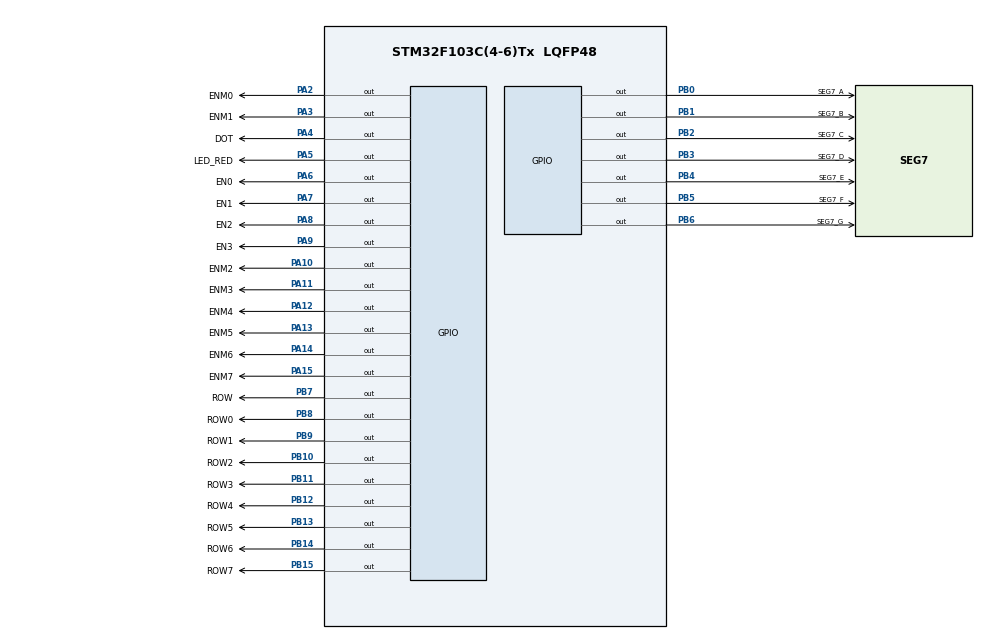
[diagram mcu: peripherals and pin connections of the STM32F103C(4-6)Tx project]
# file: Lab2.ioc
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Mcu.Family=STM32F1
Mcu.Name=STM32F103C(4-6)Tx
Mcu.Package=LQFP48
NVIC.PriorityGroup=NVIC_PRIORITYGROUP_4
NVIC.TIM2_IRQn=true\:0\:0\:false\:false\:true\:true\:true
PA10.GPIO_Label=ENM2
PA10.Signal=GPIO_Output
PA11.GPIO_Label=ENM3
PA11.Signal=GPIO_Output
PA12.GPIO_Label=ENM4
PA12.Signal=GPIO_Output
PA13.GPIO_Label=ENM5
PA13.Signal=GPIO_Output
PA14.GPIO_Label=ENM6
PA14.Signal=GPIO_Output
PA15.GPIO_Label=ENM7
PA15.Signal=GPIO_Output
PA2.GPIO_Label=ENM0
PA2.Signal=GPIO_Output
PA3.GPIO_Label=ENM1
PA3.Signal=GPIO_Output
PA4.GPIO_Label=DOT
PA4.Signal=GPIO_Output
PA5.GPIO_Label=LED_RED
PA5.Signal=GPIO_Output
PA6.GPIO_Label=EN0
PA6.Signal=GPIO_Output
PA7.GPIO_Label=EN1
PA7.Signal=GPIO_Output
PA8.GPIO_Label=EN2
PA8.Signal=GPIO_Output
PA9.GPIO_Label=EN3
PA9.Signal=GPIO_Output
PB0.GPIO_Label=SEG7_A
PB0.Signal=GPIO_Output
PB1.GPIO_Label=SEG7_B
PB1.Signal=GPIO_Output
PB10.GPIO_Label=ROW2
PB10.Signal=GPIO_Output
PB11.GPIO_Label=ROW3
PB11.Signal=GPIO_Output
PB12.GPIO_Label=ROW4
PB12.Signal=GPIO_Output
PB13.GPIO_Label=ROW5
PB13.Signal=GPIO_Output
PB14.GPIO_Label=ROW6
PB14.Signal=GPIO_Output
PB15.GPIO_Label=ROW7
PB15.Signal=GPIO_Output
PB2.GPIO_Label=SEG7_C
PB2.Signal=GPIO_Output
PB3.GPIO_Label=SEG7_D
PB3.Signal=GPIO_Output
PB4.GPIO_Label=SEG7_E
PB4.Signal=GPIO_Output
PB5.GPIO_Label=SEG7_F
PB5.Signal=GPIO_Output
PB6.GPIO_Label=SEG7_G
PB6.Signal=GPIO_Output
PB7.GPIO_Label=ROW
PB7.Signal=GPIO_Output
PB8.GPIO_Label=ROW0
PB8.Signal=GPIO_Output
PB9.GPIO_Label=ROW1
PB9.Signal=GPIO_Output
ProjectManager.HeapSize=0x200
ProjectManager.StackSize=0x400
ProjectManager.TargetToolchain=STM32CubeIDE
RCC.APB1Freq_Value=8000000
RCC.APB2Freq_Value=8000000
TIM2.Period=7
TIM2.Prescaler=799
VP_SYS_VS_ND.Mode=No_Debug
VP_TIM2_VS_ClockSourceINT.Mode=Internal
board=custom

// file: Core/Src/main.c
/* USER CODE BEGIN Header */
/**
  ******************************************************************************
  * @file           : main.c
  * @brief          : Main program body
  ******************************************************************************
  * @attention
  *
  * <h2><center>&copy; Copyright (c) 2023 STMicroelectronics.
  * All rights reserved.</center></h2>
  *
  * This software component is licensed by ST under BSD 3-Clause license,
  * the "License"; You may not use this file except in compliance with the
  * License. You may obtain a copy of the License at:
  *                        opensource.org/licenses/BSD-3-Clause
  *
  ******************************************************************************
  */
/* USER CODE END Header */
#include "main.h"

/* USER CODE BEGIN Includes */
#include "software_timer.h"
/* USER CODE END Includes */

TIM_HandleTypeDef htim2;

void SystemClock_Config(void);
static void MX_GPIO_Init(void);
static void MX_TIM2_Init(void);

/* USER CODE BEGIN 0 */
void display7SEG(int num){
	switch(num){
	case 0:
		HAL_GPIO_WritePin(SEG7_A_GPIO_Port, SEG7_A_Pin, RESET);
		HAL_GPIO_WritePin(SEG7_B_GPIO_Port, SEG7_B_Pin, RESET);
		HAL_GPIO_WritePin(SEG7_C_GPIO_Port, SEG7_C_Pin, RESET);
		HAL_GPIO_WritePin(SEG7_D_GPIO_Port, SEG7_D_Pin, RESET);
		HAL_GPIO_WritePin(SEG7_E_GPIO_Port, SEG7_E_Pin, RESET);
		HAL_GPIO_WritePin(SEG7_F_GPIO_Port, SEG7_F_Pin, RESET);
		HAL_GPIO_WritePin(SEG7_G_GPIO_Port, SEG7_G_Pin, SET);
		break;
	case 1:
		HAL_GPIO_WritePin(SEG7_A_GPIO_Port, SEG7_A_Pin, SET);
		HAL_GPIO_WritePin(SEG7_B_GPIO_Port, SEG7_B_Pin, RESET);
		HAL_GPIO_WritePin(SEG7_C_GPIO_Port, SEG7_C_Pin, RESET);
		HAL_GPIO_WritePin(SEG7_D_GPIO_Port, SEG7_D_Pin, SET);
		HAL_GPIO_WritePin(SEG7_E_GPIO_Port, SEG7_E_Pin, SET);
		HAL_GPIO_WritePin(SEG7_F_GPIO_Port, SEG7_F_Pin, SET);
		HAL_GPIO_WritePin(SEG7_G_GPIO_Port, SEG7_G_Pin, SET);
		break;
	case 2:
		HAL_GPIO_WritePin(SEG7_A_GPIO_Port, SEG7_A_Pin, RESET);
		HAL_GPIO_WritePin(SEG7_B_GPIO_Port, SEG7_B_Pin, RESET);
		HAL_GPIO_WritePin(SEG7_C_GPIO_Port, SEG7_C_Pin, SET);
		HAL_GPIO_WritePin(SEG7_D_GPIO_Port, SEG7_D_Pin, RESET);
		HAL_GPIO_WritePin(SEG7_E_GPIO_Port, SEG7_E_Pin, RESET);
		HAL_GPIO_WritePin(SEG7_F_GPIO_Port, SEG7_F_Pin, SET);
		HAL_GPIO_WritePin(SEG7_G_GPIO_Port, SEG7_G_Pin, RESET);
		break;
	case 3:
		HAL_GPIO_WritePin(SEG7_A_GPIO_Port, SEG7_A_Pin, RESET);
		HAL_GPIO_WritePin(SEG7_B_GPIO_Port, SEG7_B_Pin, RESET);
		HAL_GPIO_WritePin(SEG7_C_GPIO_Port, SEG7_C_Pin, RESET);
		HAL_GPIO_WritePin(SEG7_D_GPIO_Port, SEG7_D_Pin, RESET);
		HAL_GPIO_WritePin(SEG7_E_GPIO_Port, SEG7_E_Pin, SET);
		HAL_GPIO_WritePin(SEG7_F_GPIO_Port, SEG7_F_Pin, SET);
		HAL_GPIO_WritePin(SEG7_G_GPIO_Port, SEG7_G_Pin, RESET);
		break;
	case 4:
		HAL_GPIO_WritePin(SEG7_A_GPIO_Port, SEG7_A_Pin, SET);
		HAL_GPIO_WritePin(SEG7_B_GPIO_Port, SEG7_B_Pin, RESET);
		HAL_GPIO_WritePin(SEG7_C_GPIO_Port, SEG7_C_Pin, RESET);
		HAL_GPIO_WritePin(SEG7_D_GPIO_Port, SEG7_D_Pin, SET);
		HAL_GPIO_WritePin(SEG7_E_GPIO_Port, SEG7_E_Pin, SET);
		HAL_GPIO_WritePin(SEG7_F_GPIO_Port, SEG7_F_Pin, RESET);
		HAL_GPIO_WritePin(SEG7_G_GPIO_Port, SEG7_G_Pin, RESET);
		break;
	case 5:
		HAL_GPIO_WritePin(SEG7_A_GPIO_Port, SEG7_A_Pin, RESET);
		HAL_GPIO_WritePin(SEG7_B_GPIO_Port, SEG7_B_Pin, SET);
		HAL_GPIO_WritePin(SEG7_C_GPIO_Port, SEG7_C_Pin, RESET);
		HAL_GPIO_WritePin(SEG7_D_GPIO_Port, SEG7_D_Pin, RESET);
		HAL_GPIO_WritePin(SEG7_E_GPIO_Port, SEG7_E_Pin, SET);
		HAL_GPIO_WritePin(SEG7_F_GPIO_Port, SEG7_F_Pin, RESET);
		HAL_GPIO_WritePin(SEG7_G_GPIO_Port, SEG7_G_Pin, RESET);
		break;
	case 6:
		HAL_GPIO_WritePin(SEG7_A_GPIO_Port, SEG7_A_Pin, RESET);
		HAL_GPIO_WritePin(SEG7_B_GPIO_Port, SEG7_B_Pin, SET);
		HAL_GPIO_WritePin(SEG7_C_GPIO_Port, SEG7_C_Pin, RESET);
		HAL_GPIO_WritePin(SEG7_D_GPIO_Port, SEG7_D_Pin, RESET);
		HAL_GPIO_WritePin(SEG7_E_GPIO_Port, SEG7_E_Pin, RESET);
		HAL_GPIO_WritePin(SEG7_F_GPIO_Port, SEG7_F_Pin, RESET);
		HAL_GPIO_WritePin(SEG7_G_GPIO_Port, SEG7_G_Pin, RESET);
		break;
	case 7:
		HAL_GPIO_WritePin(SEG7_A_GPIO_Port, SEG7_A_Pin, RESET);
		HAL_GPIO_WritePin(SEG7_B_GPIO_Port, SEG7_B_Pin, RESET);
		HAL_GPIO_WritePin(SEG7_C_GPIO_Port, SEG7_C_Pin, RESET);
		HAL_GPIO_WritePin(SEG7_D_GPIO_Port, SEG7_D_Pin, SET);
		HAL_GPIO_WritePin(SEG7_E_GPIO_Port, SEG7_E_Pin, SET);
		HAL_GPIO_WritePin(SEG7_F_GPIO_Port, SEG7_F_Pin, SET);
		HAL_GPIO_WritePin(SEG7_G_GPIO_Port, SEG7_G_Pin, SET);
		break;
	case 8:
		HAL_GPIO_WritePin(SEG7_A_GPIO_Port, SEG7_A_Pin, RESET);
		HAL_GPIO_WritePin(SEG7_B_GPIO_Port, SEG7_B_Pin, RESET);
		HAL_GPIO_WritePin(SEG7_C_GPIO_Port, SEG7_C_Pin, RESET);
		HAL_GPIO_WritePin(SEG7_D_GPIO_Port, SEG7_D_Pin, RESET);
		HAL_GPIO_WritePin(SEG7_E_GPIO_Port, SEG7_E_Pin, RESET);
		HAL_GPIO_WritePin(SEG7_F_GPIO_Port, SEG7_F_Pin, RESET);
		HAL_GPIO_WritePin(SEG7_G_GPIO_Port, SEG7_G_Pin, RESET);
		break;
	case 9:
		HAL_GPIO_WritePin(SEG7_A_GPIO_Port, SEG7_A_Pin, RESET);
		HAL_GPIO_WritePin(SEG7_B_GPIO_Port, SEG7_B_Pin, RESET);
		HAL_GPIO_WritePin(SEG7_C_GPIO_Port, SEG7_C_Pin, RESET);
		HAL_GPIO_WritePin(SEG7_D_GPIO_Port, SEG7_D_Pin, RESET);
		HAL_GPIO_WritePin(SEG7_E_GPIO_Port, SEG7_E_Pin, SET);
		HAL_GPIO_WritePin(SEG7_F_GPIO_Port, SEG7_F_Pin, RESET);
		HAL_GPIO_WritePin(SEG7_G_GPIO_Port, SEG7_G_Pin, RESET);
		break;
	default:
		HAL_GPIO_WritePin(SEG7_A_GPIO_Port, SEG7_A_Pin, SET);
		HAL_GPIO_WritePin(SEG7_B_GPIO_Port, SEG7_B_Pin, SET);
		HAL_GPIO_WritePin(SEG7_C_GPIO_Port, SEG7_C_Pin, SET);
		HAL_GPIO_WritePin(SEG7_D_GPIO_Port, SEG7_D_Pin, SET);
		HAL_GPIO_WritePin(SEG7_E_GPIO_Port, SEG7_E_Pin, SET);
		HAL_GPIO_WritePin(SEG7_F_GPIO_Port, SEG7_F_Pin, SET);
		HAL_GPIO_WritePin(SEG7_G_GPIO_Port, SEG7_G_Pin, SET);
		break;
	}
}

const int MAX_LED = 4;
int index_led = 0;
int led_buffer[4] = {0,0,0,0};
void update7SEG(int index) {
	switch(index) {
	  case 0:
		  HAL_GPIO_WritePin(EN0_GPIO_Port, EN0_Pin, RESET);
		  HAL_GPIO_WritePin(EN1_GPIO_Port, EN1_Pin, SET);
		  HAL_GPIO_WritePin(EN2_GPIO_Port, EN2_Pin, SET);
		  HAL_GPIO_WritePin(EN3_GPIO_Port, EN3_Pin, SET);
		  break;
	  case 1:
		  HAL_GPIO_WritePin(EN0_GPIO_Port, EN0_Pin, SET);
		  HAL_GPIO_WritePin(EN1_GPIO_Port, EN1_Pin, RESET);
		  HAL_GPIO_WritePin(EN2_GPIO_Port, EN2_Pin, SET);
		  HAL_GPIO_WritePin(EN3_GPIO_Port, EN3_Pin, SET);
		  break;
	  case 2:
		  HAL_GPIO_WritePin(EN0_GPIO_Port, EN0_Pin, SET);
		  HAL_GPIO_WritePin(EN1_GPIO_Port, EN1_Pin, SET);
		  HAL_GPIO_WritePin(EN2_GPIO_Port, EN2_Pin, RESET);
		  HAL_GPIO_WritePin(EN3_GPIO_Port, EN3_Pin, SET);
		  break;
	  case 3:
		  HAL_GPIO_WritePin(EN0_GPIO_Port, EN0_Pin, SET);
		  HAL_GPIO_WritePin(EN1_GPIO_Port, EN1_Pin, SET);
		  HAL_GPIO_WritePin(EN2_GPIO_Port, EN2_Pin, SET);
		  HAL_GPIO_WritePin(EN3_GPIO_Port, EN3_Pin, RESET);
		  break;
	  default:
		  break;
	}
	display7SEG(led_buffer[index]);
}

int hour = 15 , minute = 8 , second = 50;
void updateClockBuffer(){
	led_buffer[0] = hour/10;
	led_buffer[1] = hour%10;
	led_buffer[2] = minute/10;
	led_buffer[3] = minute%10;
}

void displayRowLEDMatrix(uint8_t num){
	HAL_GPIO_WritePin(ROW0_GPIO_Port, ROW0_Pin, (num&0x01));
	num = num >> 1;
	HAL_GPIO_WritePin(ROW1_GPIO_Port, ROW1_Pin, (num&0x01));
	num = num >> 1;
	HAL_GPIO_WritePin(ROW2_GPIO_Port, ROW2_Pin, (num&0x01));
	num = num >> 1;
	HAL_GPIO_WritePin(ROW3_GPIO_Port, ROW3_Pin, (num&0x01));
	num = num >> 1;
	HAL_GPIO_WritePin(ROW4_GPIO_Port, ROW4_Pin, (num&0x01));
	num = num >> 1;
	HAL_GPIO_WritePin(ROW5_GPIO_Port, ROW5_Pin, (num&0x01));
	num = num >> 1;
	HAL_GPIO_WritePin(ROW6_GPIO_Port, ROW6_Pin, (num&0x01));
	num = num >> 1;
	HAL_GPIO_WritePin(ROW7_GPIO_Port, ROW7_Pin, (num&0x01));
}

void displayColLEDMatrix(int num){
	switch(num){
	case 0:
		HAL_GPIO_WritePin(ENM0_GPIO_Port, ENM0_Pin, RESET);
		HAL_GPIO_WritePin(ENM1_GPIO_Port, ENM1_Pin, SET);
		HAL_GPIO_WritePin(ENM2_GPIO_Port, ENM2_Pin, SET);
		HAL_GPIO_WritePin(ENM3_GPIO_Port, ENM3_Pin, SET);
		HAL_GPIO_WritePin(ENM4_GPIO_Port, ENM4_Pin, SET);
		HAL_GPIO_WritePin(ENM5_GPIO_Port, ENM5_Pin, SET);
		HAL_GPIO_WritePin(ENM6_GPIO_Port, ENM6_Pin, SET);
		HAL_GPIO_WritePin(ENM7_GPIO_Port, ENM7_Pin, SET);
		break;
	case 1:
		HAL_GPIO_WritePin(ENM0_GPIO_Port, ENM0_Pin, SET);
		HAL_GPIO_WritePin(ENM1_GPIO_Port, ENM1_Pin, RESET);
		HAL_GPIO_WritePin(ENM2_GPIO_Port, ENM2_Pin, SET);
		HAL_GPIO_WritePin(ENM3_GPIO_Port, ENM3_Pin, SET);
		HAL_GPIO_WritePin(ENM4_GPIO_Port, ENM4_Pin, SET);
		HAL_GPIO_WritePin(ENM5_GPIO_Port, ENM5_Pin, SET);
		HAL_GPIO_WritePin(ENM6_GPIO_Port, ENM6_Pin, SET);
		HAL_GPIO_WritePin(ENM7_GPIO_Port, ENM7_Pin, SET);
		break;
	case 2:
		HAL_GPIO_WritePin(ENM0_GPIO_Port, ENM0_Pin, SET);
		HAL_GPIO_WritePin(ENM1_GPIO_Port, ENM1_Pin, SET);
		HAL_GPIO_WritePin(ENM2_GPIO_Port, ENM2_Pin, RESET);
		HAL_GPIO_WritePin(ENM3_GPIO_Port, ENM3_Pin, SET);
		HAL_GPIO_WritePin(ENM4_GPIO_Port, ENM4_Pin, SET);
		HAL_GPIO_WritePin(ENM5_GPIO_Port, ENM5_Pin, SET);
		HAL_GPIO_WritePin(ENM6_GPIO_Port, ENM6_Pin, SET);
		HAL_GPIO_WritePin(ENM7_GPIO_Port, ENM7_Pin, SET);
		break;
	case 3:
		HAL_GPIO_WritePin(ENM0_GPIO_Port, ENM0_Pin, SET);
		HAL_GPIO_WritePin(ENM1_GPIO_Port, ENM1_Pin, SET);
		HAL_GPIO_WritePin(ENM2_GPIO_Port, ENM2_Pin, SET);
		HAL_GPIO_WritePin(ENM3_GPIO_Port, ENM3_Pin, RESET);
		HAL_GPIO_WritePin(ENM4_GPIO_Port, ENM4_Pin, SET);
		HAL_GPIO_WritePin(ENM5_GPIO_Port, ENM5_Pin, SET);
		HAL_GPIO_WritePin(ENM6_GPIO_Port, ENM6_Pin, SET);
		HAL_GPIO_WritePin(ENM7_GPIO_Port, ENM7_Pin, SET);
		break;
	case 4:
		HAL_GPIO_WritePin(ENM0_GPIO_Port, ENM0_Pin, SET);
		HAL_GPIO_WritePin(ENM1_GPIO_Port, ENM1_Pin, SET);
		HAL_GPIO_WritePin(ENM2_GPIO_Port, ENM2_Pin, SET);
		HAL_GPIO_WritePin(ENM3_GPIO_Port, ENM3_Pin, SET);
		HAL_GPIO_WritePin(ENM4_GPIO_Port, ENM4_Pin, RESET);
		HAL_GPIO_WritePin(ENM5_GPIO_Port, ENM5_Pin, SET);
		HAL_GPIO_WritePin(ENM6_GPIO_Port, ENM6_Pin, SET);
		HAL_GPIO_WritePin(ENM7_GPIO_Port, ENM7_Pin, SET);
		break;
	case 5:
		HAL_GPIO_WritePin(ENM0_GPIO_Port, ENM0_Pin, SET);
		HAL_GPIO_WritePin(ENM1_GPIO_Port, ENM1_Pin, SET);
		HAL_GPIO_WritePin(ENM2_GPIO_Port, ENM2_Pin, SET);
		HAL_GPIO_WritePin(ENM3_GPIO_Port, ENM3_Pin, SET);
		HAL_GPIO_WritePin(ENM4_GPIO_Port, ENM4_Pin, SET);
		HAL_GPIO_WritePin(ENM5_GPIO_Port, ENM5_Pin, RESET);
		HAL_GPIO_WritePin(ENM6_GPIO_Port, ENM6_Pin, SET);
		HAL_GPIO_WritePin(ENM7_GPIO_Port, ENM7_Pin, SET);
		break;
	case 6:
		HAL_GPIO_WritePin(ENM0_GPIO_Port, ENM0_Pin, SET);
		HAL_GPIO_WritePin(ENM1_GPIO_Port, ENM1_Pin, SET);
		HAL_GPIO_WritePin(ENM2_GPIO_Port, ENM2_Pin, SET);
		HAL_GPIO_WritePin(ENM3_GPIO_Port, ENM3_Pin, SET);
		HAL_GPIO_WritePin(ENM4_GPIO_Port, ENM4_Pin, SET);
		HAL_GPIO_WritePin(ENM5_GPIO_Port, ENM5_Pin, SET);
		HAL_GPIO_WritePin(ENM6_GPIO_Port, ENM6_Pin, RESET);
		HAL_GPIO_WritePin(ENM7_GPIO_Port, ENM7_Pin, SET);
		break;
	case 7:
		HAL_GPIO_WritePin(ENM0_GPIO_Port, ENM0_Pin, SET);
		HAL_GPIO_WritePin(ENM1_GPIO_Port, ENM1_Pin, SET);
		HAL_GPIO_WritePin(ENM2_GPIO_Port, ENM2_Pin, SET);
		HAL_GPIO_WritePin(ENM3_GPIO_Port, ENM3_Pin, SET);
		HAL_GPIO_WritePin(ENM4_GPIO_Port, ENM4_Pin, SET);
		HAL_GPIO_WritePin(ENM5_GPIO_Port, ENM5_Pin, SET);
		HAL_GPIO_WritePin(ENM6_GPIO_Port, ENM6_Pin, SET);
		HAL_GPIO_WritePin(ENM7_GPIO_Port, ENM7_Pin, RESET);
		break;

	}

}

/*
	 1 1 1 - - 1 1 1
	 1 1 - - - - 1 1
	 1 - - 1 1 - - 1
	 1 - - 1 1 - - 1
	 1 - - - - - - 1
	 1 - - - - - - 1
	 1 - - 1 1 - - 1
	 1 - - 1 1 - - 1
*/

const int MAX_LED_MATRIX = 8;
int index_led_matrix = 0;
uint8_t matrix_buffer[8] = {0x1C,0x22,0x42,0x84,0x84,0x42,0x22,0x1C};
uint8_t matrix_1[8] = {0x1C,0x22,0x42,0x84,0x84,0x42,0x22,0x1C};
uint8_t matrix_2[8] = {0x1C,0x3E,0x66,0xC4,0xC4,0x66,0x3E,0x1C};
void resetLEDMatrix(){
	HAL_GPIO_WritePin(ENM0_GPIO_Port, ENM0_Pin, SET);
	HAL_GPIO_WritePin(ENM1_GPIO_Port, ENM1_Pin, SET);
	HAL_GPIO_WritePin(ENM2_GPIO_Port, ENM2_Pin, SET);
	HAL_GPIO_WritePin(ENM3_GPIO_Port, ENM3_Pin, SET);
	HAL_GPIO_WritePin(ENM4_GPIO_Port, ENM4_Pin, SET);
	HAL_GPIO_WritePin(ENM5_GPIO_Port, ENM5_Pin, SET);
	HAL_GPIO_WritePin(ENM6_GPIO_Port, ENM6_Pin, SET);
	HAL_GPIO_WritePin(ENM7_GPIO_Port, ENM7_Pin, SET);

	HAL_GPIO_WritePin(ROW0_GPIO_Port, ROW0_Pin, SET);
	HAL_GPIO_WritePin(ROW1_GPIO_Port, ROW1_Pin, SET);
	HAL_GPIO_WritePin(ROW2_GPIO_Port, ROW2_Pin, SET);
	HAL_GPIO_WritePin(ROW3_GPIO_Port, ROW3_Pin, SET);
	HAL_GPIO_WritePin(ROW4_GPIO_Port, ROW4_Pin, SET);
	HAL_GPIO_WritePin(ROW5_GPIO_Port, ROW5_Pin, SET);
	HAL_GPIO_WritePin(ROW6_GPIO_Port, ROW6_Pin, SET);
	HAL_GPIO_WritePin(ROW7_GPIO_Port, ROW7_Pin, SET);
}
int state = 0;
void shiftLeft(){
	if (state == 0){
		matrix_buffer[0] = matrix_2[0];
			matrix_buffer[1] = matrix_2[1];
			matrix_buffer[2] = matrix_2[2];
			matrix_buffer[3] = matrix_2[3];
			matrix_buffer[4] = matrix_2[4];
			matrix_buffer[5] = matrix_2[5];
			matrix_buffer[6] = matrix_2[6];
			matrix_buffer[7] = matrix_2[7];
			state++;
	}
	if (state == 1){
		matrix_buffer[0] = matrix_1[0];
			matrix_buffer[1] = matrix_1[1];
			matrix_buffer[2] = matrix_1[2];
			matrix_buffer[3] = matrix_1[3];
			matrix_buffer[4] = matrix_1[4];
			matrix_buffer[5] = matrix_1[5];
			matrix_buffer[6] = matrix_1[6];
			matrix_buffer[7] = matrix_1[7];
			state--;
	}

}

void updateLEDMatrix(){

//    displayRowLEDMatrix(matrix_buffer[index]);
//    displayColLEDMatrix(index);

	resetLEDMatrix();
	HAL_GPIO_WritePin(GPIOB, matrix_buffer[index_led_matrix] << 0x08, RESET);
	displayColLEDMatrix(index_led_matrix);
	index_led_matrix++;
	if (index_led_matrix >= MAX_LED_MATRIX) {
		shiftLeft();
		index_led_matrix = 0;
	}

}

/* USER CODE END 0 */

int main(void)
{

  /* MCU Configuration--------------------------------------------------------*/

  /* Reset of all peripherals, Initializes the Flash interface and the Systick. */
  HAL_Init();

  /* Configure the system clock */
  SystemClock_Config();

  /* Initialize all configured peripherals */
  MX_GPIO_Init();
  MX_TIM2_Init();
  /* USER CODE BEGIN 2 */
  HAL_TIM_Base_Start_IT(&htim2);
  /* USER CODE END 2 */

  /* Infinite loop */
  /* USER CODE BEGIN WHILE */
  setTimer0(1000);
  setTimer1(1000);
  setTimer2(250);
  setTimer3(100);
  resetLEDMatrix();
  while (1)
  {
	  if (timer0_flag == 1){
		  setTimer0(1000);
		  second++;
		  if(second >= 60) {
			  second = 0;
			  minute++;
		  }
		  if(minute >= 60) {
			  minute = 0;
			  hour++;
		  }
		  if(hour >= 24) {
			  hour = 0;
		  }
		  updateClockBuffer();
		  HAL_GPIO_TogglePin(DOT_GPIO_Port, DOT_Pin);
	  }

	  if (timer1_flag == 1){
		  setTimer1(1000);
		  HAL_GPIO_TogglePin(LED_RED_GPIO_Port, LED_RED_Pin);
	  }

	  if (timer2_flag == 1){
		  setTimer2(250);
		  update7SEG(index_led);
		  index_led++;
		  if (index_led >= MAX_LED) index_led = 0;
	  }

	  if (timer3_flag == 1){
		  setTimer3(4);
		  updateLEDMatrix();
	  }
    /* USER CODE END WHILE */

  }
}

void SystemClock_Config(void)
{
  RCC_OscInitTypeDef RCC_OscInitStruct = {0};
  RCC_ClkInitTypeDef RCC_ClkInitStruct = {0};

  /** Initializes the RCC Oscillators according to the specified parameters
  * in the RCC_OscInitTypeDef structure.
  */
  RCC_OscInitStruct.OscillatorType = RCC_OSCILLATORTYPE_HSI;
  RCC_OscInitStruct.HSIState = RCC_HSI_ON;
  RCC_OscInitStruct.HSICalibrationValue = RCC_HSICALIBRATION_DEFAULT;
  RCC_OscInitStruct.PLL.PLLState = RCC_PLL_NONE;
  if (HAL_RCC_OscConfig(&RCC_OscInitStruct) != HAL_OK)
  {
    Error_Handler();
  }
  /** Initializes the CPU, AHB and APB buses clocks
  */
  RCC_ClkInitStruct.ClockType = RCC_CLOCKTYPE_HCLK|RCC_CLOCKTYPE_SYSCLK
                              |RCC_CLOCKTYPE_PCLK1|RCC_CLOCKTYPE_PCLK2;
  RCC_ClkInitStruct.SYSCLKSource = RCC_SYSCLKSOURCE_HSI;
  RCC_ClkInitStruct.AHBCLKDivider = RCC_SYSCLK_DIV1;
  RCC_ClkInitStruct.APB1CLKDivider = RCC_HCLK_DIV1;
  RCC_ClkInitStruct.APB2CLKDivider = RCC_HCLK_DIV1;

  if (HAL_RCC_ClockConfig(&RCC_ClkInitStruct, FLASH_LATENCY_0) != HAL_OK)
  {
    Error_Handler();
  }
}

static void MX_TIM2_Init(void)
{

  TIM_ClockConfigTypeDef sClockSourceConfig = {0};
  TIM_MasterConfigTypeDef sMasterConfig = {0};

  htim2.Instance = TIM2;
  htim2.Init.Prescaler = 799;
  htim2.Init.CounterMode = TIM_COUNTERMODE_UP;
  htim2.Init.Period = 7;
  htim2.Init.ClockDivision = TIM_CLOCKDIVISION_DIV1;
  htim2.Init.AutoReloadPreload = TIM_AUTORELOAD_PRELOAD_DISABLE;
  if (HAL_TIM_Base_Init(&htim2) != HAL_OK)
  {
    Error_Handler();
  }
  sClockSourceConfig.ClockSource = TIM_CLOCKSOURCE_INTERNAL;
  if (HAL_TIM_ConfigClockSource(&htim2, &sClockSourceConfig) != HAL_OK)
  {
    Error_Handler();
  }
  sMasterConfig.MasterOutputTrigger = TIM_TRGO_RESET;
  sMasterConfig.MasterSlaveMode = TIM_MASTERSLAVEMODE_DISABLE;
  if (HAL_TIMEx_MasterConfigSynchronization(&htim2, &sMasterConfig) != HAL_OK)
  {
    Error_Handler();
  }

}

static void MX_GPIO_Init(void)
{
  GPIO_InitTypeDef GPIO_InitStruct = {0};

  /* GPIO Ports Clock Enable */
  __HAL_RCC_GPIOA_CLK_ENABLE();
  __HAL_RCC_GPIOB_CLK_ENABLE();

  /*Configure GPIO pin Output Level */
  HAL_GPIO_WritePin(GPIOA, ENM0_Pin|ENM1_Pin|DOT_Pin|LED_RED_Pin
                          |EN0_Pin|EN1_Pin|EN2_Pin|EN3_Pin
                          |ENM2_Pin|ENM3_Pin|ENM4_Pin|ENM5_Pin
                          |ENM6_Pin|ENM7_Pin, GPIO_PIN_RESET);

  /*Configure GPIO pin Output Level */
  HAL_GPIO_WritePin(GPIOB, SEG7_A_Pin|SEG7_B_Pin|SEG7_C_Pin|ROW2_Pin
                          |ROW3_Pin|ROW4_Pin|ROW5_Pin|ROW6_Pin
                          |ROW7_Pin|SEG7_D_Pin|SEG7_E_Pin|SEG7_F_Pin
                          |SEG7_G_Pin|ROW_Pin|ROW0_Pin|ROW1_Pin, GPIO_PIN_RESET);

  /*Configure GPIO pins : ENM0_Pin ENM1_Pin DOT_Pin LED_RED_Pin
                           EN0_Pin EN1_Pin EN2_Pin EN3_Pin
                           ENM2_Pin ENM3_Pin ENM4_Pin ENM5_Pin
                           ENM6_Pin ENM7_Pin */
  GPIO_InitStruct.Pin = ENM0_Pin|ENM1_Pin|DOT_Pin|LED_RED_Pin
                          |EN0_Pin|EN1_Pin|EN2_Pin|EN3_Pin
                          |ENM2_Pin|ENM3_Pin|ENM4_Pin|ENM5_Pin
                          |ENM6_Pin|ENM7_Pin;
  GPIO_InitStruct.Mode = GPIO_MODE_OUTPUT_PP;
  GPIO_InitStruct.Pull = GPIO_NOPULL;
  GPIO_InitStruct.Speed = GPIO_SPEED_FREQ_LOW;
  HAL_GPIO_Init(GPIOA, &GPIO_InitStruct);

  /*Configure GPIO pins : SEG7_A_Pin SEG7_B_Pin SEG7_C_Pin ROW2_Pin
                           ROW3_Pin ROW4_Pin ROW5_Pin ROW6_Pin
                           ROW7_Pin SEG7_D_Pin SEG7_E_Pin SEG7_F_Pin
                           SEG7_G_Pin ROW_Pin ROW0_Pin ROW1_Pin */
  GPIO_InitStruct.Pin = SEG7_A_Pin|SEG7_B_Pin|SEG7_C_Pin|ROW2_Pin
                          |ROW3_Pin|ROW4_Pin|ROW5_Pin|ROW6_Pin
                          |ROW7_Pin|SEG7_D_Pin|SEG7_E_Pin|SEG7_F_Pin
                          |SEG7_G_Pin|ROW_Pin|ROW0_Pin|ROW1_Pin;
  GPIO_InitStruct.Mode = GPIO_MODE_OUTPUT_PP;
  GPIO_InitStruct.Pull = GPIO_NOPULL;
  GPIO_InitStruct.Speed = GPIO_SPEED_FREQ_LOW;
  HAL_GPIO_Init(GPIOB, &GPIO_InitStruct);

}

/* USER CODE BEGIN 4 */
void HAL_TIM_PeriodElapsedCallback ( TIM_HandleTypeDef * htim ){
	timerRun();
}
/* USER CODE END 4 */

void Error_Handler(void)
{
  __disable_irq();
  while (1)
  {
  }
}

/************************ (C) COPYRIGHT STMicroelectronics *****END OF FILE****/
